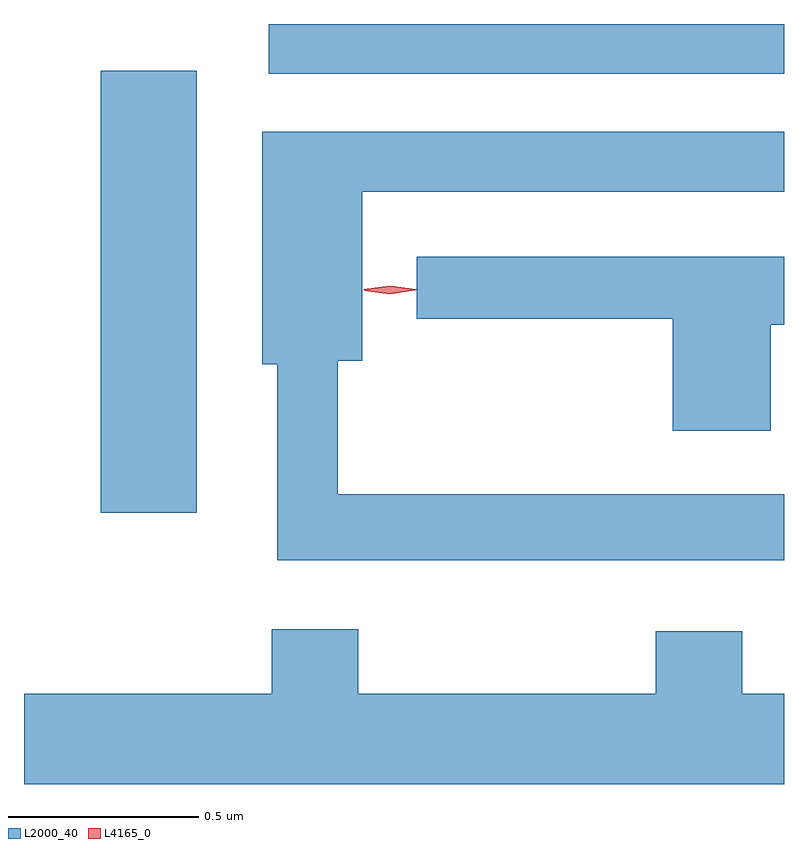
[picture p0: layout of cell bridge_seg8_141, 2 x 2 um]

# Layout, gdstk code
import gdstk
lib = gdstk.Library(unit=1e-6, precision=1e-09)
def R(c, l, rs):  # rectangles x0, y0, x1, y1
    for r in rs: c.add(gdstk.rectangle(r[:2], r[2:], *l))
def P(c, l, *ps):  # polygons
    for p in ps: c.add(gdstk.Polygon(p, *l))
L2000_40 = (2000, 40)
L4165_0 = (4165, 0)

bridge_seg8_141 = lib.new_cell('bridge_seg8_141')
R(bridge_seg8_141, L2000_40, [(1776.271,1848.261,1776.524,1849.424), (1776.713,1849.416,1778.069,1849.547)])
P(bridge_seg8_141, L2000_40, [(1778.069,1848.309),(1776.894,1848.309),(1776.894,1848.661),(1776.959,1848.661),(1776.959,1849.106),(1778.069,1849.106),(1778.069,1849.264),(1776.696,1849.264),(1776.696,1848.651),(1776.736,1848.651),(1776.736,1848.136),(1778.069,1848.136)],
  [(1778.034,1848.756),(1778.069,1848.756),(1778.069,1848.934),(1777.103,1848.934),(1777.103,1848.771),(1777.776,1848.771),(1777.776,1848.476),(1778.034,1848.476)],
  [(1778.069,1847.784),(1777.959,1847.784),(1777.959,1847.949),(1777.731,1847.949),(1777.731,1847.784),(1776.949,1847.784),(1776.949,1847.954),(1776.721,1847.954),(1776.721,1847.784),(1776.069,1847.784),(1776.069,1847.547),(1778.069,1847.547)])
P(bridge_seg8_141, L4165_0, [(1777.032,1848.836),(1776.966,1848.845),(1776.966,1848.846),(1776.966,1848.846),(1777.032,1848.856),(1777.098,1848.847),(1777.098,1848.846),(1777.098,1848.846)],
  [(1777.032,1848.839),(1776.963,1848.848),(1776.963,1848.848),(1776.963,1848.849),(1777.032,1848.858),(1777.101,1848.849),(1777.102,1848.849),(1777.101,1848.848)])

lib.write_gds('bridge_seg8_141.gds')
